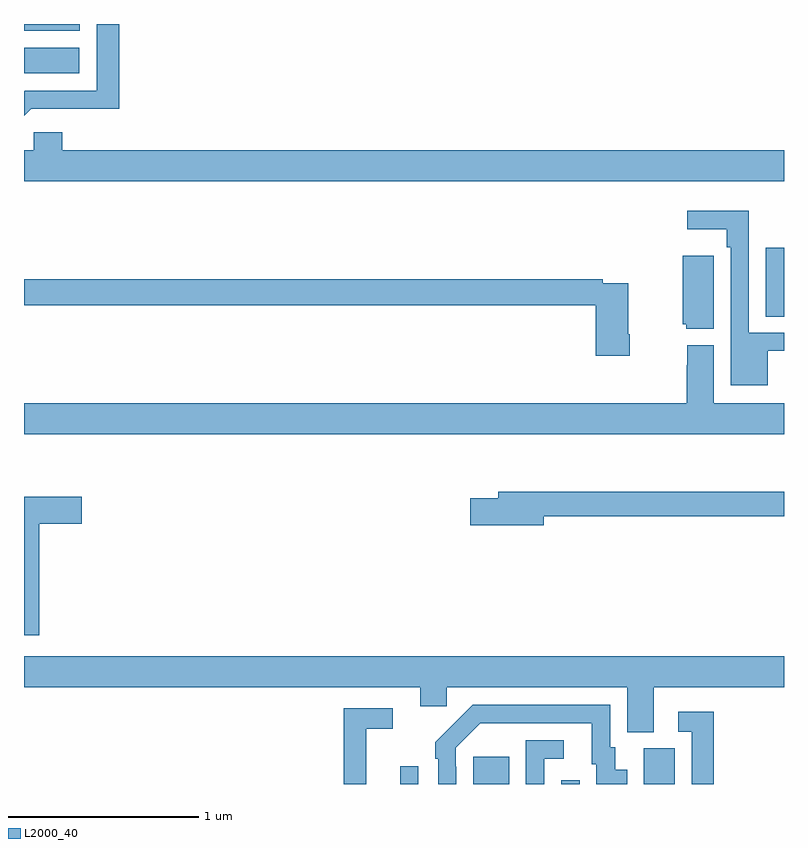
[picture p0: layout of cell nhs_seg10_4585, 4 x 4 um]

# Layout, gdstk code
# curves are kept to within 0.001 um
import gdstk
lib = gdstk.Library(unit=1e-6, precision=1e-09)
def R(c, l, rs):  # rectangles x0, y0, x1, y1
    for r in rs: c.add(gdstk.rectangle(r[:2], r[2:], *l))
def P(c, l, *ps):  # polygons
    for p in ps: c.add(gdstk.Polygon(p, *l))
L2000_40 = (2000, 40)

nhs_seg10_4585 = lib.new_cell('nhs_seg10_4585')
R(nhs_seg10_4585, L2000_40, [(374.979,1274.5,375.075,1274.593), (375.365,1274.5,375.553,1274.644), (375.828,1274.5,375.924,1274.521), (376.262,1274.5,376.426,1274.688), (376.904,1276.96,377,1277.323), (373,1278.242,373.291,1278.376), (373,1278.464,373.294,1278.5)])
P(nhs_seg10_4585, L2000_40, [(373.038,1278.054),(373.26,1278.054),(373.26,1278.053),(373.501,1278.053),(373.501,1278.5),(373.382,1278.5),(373.382,1278.15),(373.005,1278.15),(373,1278.145),(373,1278.016)],
  [(377,1277.836),(373.202,1277.836),(373.202,1277.929),(373.05,1277.929),(373.05,1277.836),(373,1277.836),(373,1277.672),(377,1277.672)],
  [(376.915,1276.779),(377,1276.779),(377,1276.875),(376.815,1276.875),(376.815,1277.518),(376.491,1277.518),(376.491,1277.42),(376.699,1277.42),(376.699,1277.324),(376.719,1277.324),(376.719,1276.598),(376.915,1276.598)],
  [(376.63,1277.281),(376.466,1277.281),(376.466,1276.92),(376.485,1276.92),(376.485,1276.895),(376.63,1276.895)],
  [(376.188,1276.867),(376.18,1276.867),(376.18,1277.136),(376.046,1277.136),(376.046,1277.156),(373,1277.156),(373,1277.02),(376.01,1277.02),(376.01,1276.755),(376.188,1276.755)],
  [(377,1276.504),(376.63,1276.504),(376.63,1276.81),(376.492,1276.81),(376.492,1276.703),(376.487,1276.703),(376.487,1276.504),(373,1276.504),(373,1276.34),(377,1276.34)],
  [(375.736,1275.91),(377,1275.91),(377,1276.039),(375.497,1276.039),(375.497,1276.005),(375.348,1276.005),(375.348,1275.863),(375.736,1275.863)],
  [(373.079,1275.869),(373.303,1275.869),(373.303,1276.011),(373,1276.011),(373,1275.282),(373.079,1275.282)],
  [(376.315,1275.008),(377,1275.008),(377,1275.172),(373,1275.172),(373,1275.008),(375.086,1275.008),(375.086,1274.91),(375.225,1274.91),(375.225,1275.008),(376.175,1275.008),(376.175,1274.773),(376.315,1274.773)],
  [(375.276,1274.591),(375.273,1274.591),(375.273,1274.691),(375.402,1274.82),(375.989,1274.82),(375.989,1274.604),(376.013,1274.604),(376.013,1274.5),(376.174,1274.5),(376.174,1274.575),(376.111,1274.575),(376.111,1274.694),(376.086,1274.694),(376.086,1274.916),(375.362,1274.916),(375.165,1274.721),(375.165,1274.633),(375.18,1274.633),(375.18,1274.5),(375.276,1274.5)],
  [(374.801,1274.79),(374.941,1274.79),(374.941,1274.898),(374.683,1274.898),(374.683,1274.5),(374.801,1274.5)],
  [(376.631,1274.881),(376.443,1274.881),(376.443,1274.775),(376.515,1274.775),(376.515,1274.5),(376.631,1274.5)],
  [(375.738,1274.634),(375.841,1274.634),(375.841,1274.73),(375.642,1274.73),(375.642,1274.5),(375.738,1274.5)])

lib.write_gds('nhs_seg10_4585.gds')
